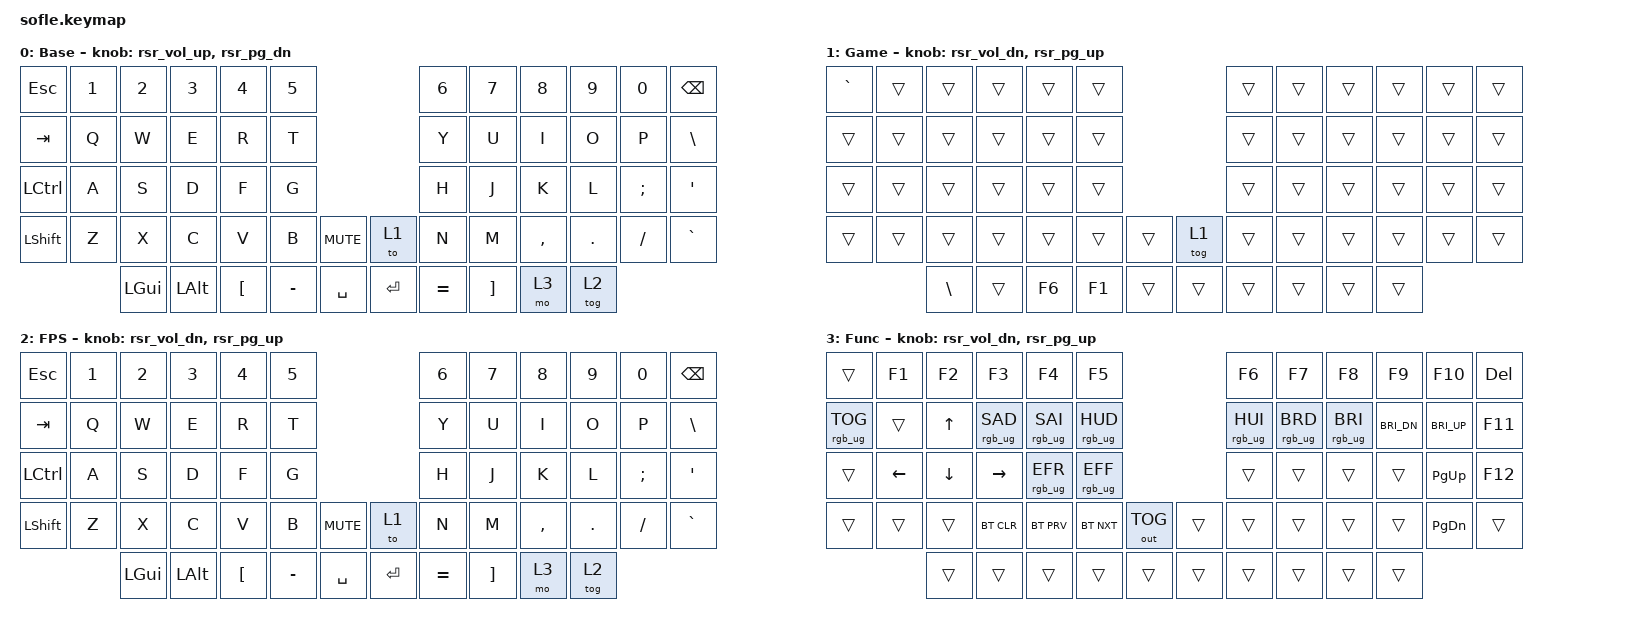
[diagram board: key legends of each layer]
/*
 * Copyright (c) 2020 The ZMK Contributors
 *
 * SPDX-License-Identifier: MIT
 */

#include <behaviors.dtsi>
#include <dt-bindings/zmk/bt.h>
#include <dt-bindings/zmk/keys.h>
#include <dt-bindings/zmk/outputs.h>
#include <dt-bindings/zmk/rgb.h>
#include <behaviors/runtime-sensor-rotate.dtsi>

#define BASE 0
#define LOWER 1
#define RAISE 2
#define ADJUST 3

/ {
    // Activate ADJUST layer by pressing raise and lower

    conditional_layers { compatible = "zmk,conditional-layers"; };

    behaviors {
        tmt: tap_preferred_mt {
            compatible = "zmk,behavior-hold-tap";
            label = "TMT";
            bindings = <&kp>, <&kp>;

            #binding-cells = <2>;
            tapping-term-ms = <200>;
            flavor = "tap-preferred";
        };
    };

    // Runtime-configurable encoders (cormoran/zmk-behavior-runtime-sensor-rotate).
    // cw/ccw-binding are static fallbacks; the web UI overrides them per layer and
    // the settings persist. First cell = clockwise, mirroring the &inc_dec_kp
    // pairs each layer used before.
    behaviors {
        rsr_vol_up: rsr_vol_up {
            compatible = "zmk,behavior-runtime-sensor-rotate";
            #sensor-binding-cells = <0>;
            cw-binding = <&kp C_VOL_UP>;
            ccw-binding = <&kp C_VOL_DN>;
        };

        rsr_vol_dn: rsr_vol_dn {
            compatible = "zmk,behavior-runtime-sensor-rotate";
            #sensor-binding-cells = <0>;
            cw-binding = <&kp C_VOL_DN>;
            ccw-binding = <&kp C_VOL_UP>;
        };

        rsr_pg_dn: rsr_pg_dn {
            compatible = "zmk,behavior-runtime-sensor-rotate";
            #sensor-binding-cells = <0>;
            cw-binding = <&kp PG_DN>;
            ccw-binding = <&kp PG_UP>;
        };

        rsr_pg_up: rsr_pg_up {
            compatible = "zmk,behavior-runtime-sensor-rotate";
            #sensor-binding-cells = <0>;
            cw-binding = <&kp PG_UP>;
            ccw-binding = <&kp PG_DN>;
        };
    };

    keymap {
        compatible = "zmk,keymap";

        default_layer {
            display-name = "Base";   // 👈 this is the layer name you see in UI/OLED

            // ------------------------------------------------------------------------------------------------------------
            // |  ESC  |  1  |  2  |  3   |  4   |  5   |                   |  6   |  7    |  8    |  9   |   0   | BKSPC |
            // |  TAB  |  Q  |  W  |  E   |  R   |  T   |                   |  Y   |  U    |  I    |  O   |   P   |   \   |
            // | LCTRL |  A  |  S  |  D   |  F   |  G   |                   |  H   |  J    |  K    |  L   |   ;   |   '   |
            // | SHIFT |  Z  |  X  |  C   |  V   |  B   |  MUTE  |  |       |  N   |  M    |  ,    |  .   |   /   | SHIFT |
            //               | GUI |  -   | ALT  | SPACE|   {    |  |   }   | Enter|  fn   | =     | `    |

            bindings = <
&kp ESC    &kp N1  &kp N2        &kp N3        &kp N4            &kp N5                            &kp N6     &kp N7             &kp N8     &kp N9   &kp N0    &kp BSPC
&kp TAB    &kp Q   &kp W         &kp E         &kp R             &kp T                             &kp Y      &kp U              &kp I      &kp O    &kp P     &kp BSLH
&kp LCTRL  &kp A   &kp S         &kp D         &kp F             &kp G                             &kp H      &kp J              &kp K      &kp L    &kp SEMI  &kp SQT
&kp LSHFT  &kp Z   &kp X         &kp C         &kp V             &kp B      &kp C_MUTE    &to 1    &kp N      &kp M              &kp COMMA  &kp DOT  &kp FSLH  &kp GRAVE
                   &kp LEFT_GUI  &kp LEFT_ALT  &kp LEFT_BRACKET  &kp MINUS  &kp SPACE     &kp RET  &kp EQUAL  &kp RIGHT_BRACKET  &mo 3      &tog 2
            >;

            sensor-bindings = <&rsr_vol_up &rsr_pg_dn>;
        };

        raise_layer {
            display-name = "Game";

            // ------------------------------------------------------------------------------------------------------------
            // |       |        |        |       |       |      |                |        |       |       |      |       |       |
            // |       |        |        |       |       |      |                |        |       |       |      |       |       |
            // |       |        |        |       |       |      |                |        |       |       |      |       |       |
            // |       |        |        |       |       |      |      |  |      |        |       |       |      |       |       |
            //                  |  F6    |  F5   |       |      |  F1  |  |      |        |       |       |      |

            bindings = <
&kp GRAVE  &trans  &trans         &trans  &trans  &trans                    &trans  &trans  &trans  &trans  &trans  &trans
&trans     &trans  &trans         &trans  &trans  &trans                    &trans  &trans  &trans  &trans  &trans  &trans
&trans     &trans  &trans         &trans  &trans  &trans                    &trans  &trans  &trans  &trans  &trans  &trans
&trans     &trans  &trans         &trans  &trans  &trans  &trans    &tog 1  &trans  &trans  &trans  &trans  &trans  &trans
                   &kp BACKSLASH  &trans  &kp F6  &kp F1  &trans    &trans  &trans  &trans  &trans  &trans
            >;

            sensor-bindings = <&rsr_vol_dn &rsr_pg_up>;
        };

        adjust_layer {
            display-name = "FPS";
            bindings = <
&kp ESC    &kp N1  &kp N2        &kp N3        &kp N4            &kp N5                            &kp N6     &kp N7             &kp N8     &kp N9   &kp N0    &kp BSPC
&kp TAB    &kp Q   &kp W         &kp E         &kp R             &kp T                             &kp Y      &kp U              &kp I      &kp O    &kp P     &kp BSLH
&kp LCTRL  &kp A   &kp S         &kp D         &kp F             &kp G                             &kp H      &kp J              &kp K      &kp L    &kp SEMI  &kp SQT
&kp LSHFT  &kp Z   &kp X         &kp C         &kp V             &kp B      &kp C_MUTE    &to 1    &kp N      &kp M              &kp COMMA  &kp DOT  &kp FSLH  &kp GRAVE
                   &kp LEFT_GUI  &kp LEFT_ALT  &kp LEFT_BRACKET  &kp MINUS  &kp SPACE     &kp RET  &kp EQUAL  &kp RIGHT_BRACKET  &mo 3      &tog 2
            >;

            sensor-bindings = <&rsr_vol_dn &rsr_pg_up>;
        };

        lower_layer {
            display-name = "Func";
            // TODO: Some binds are waiting for shifted keycode support.
            // ------------------------------------------------------------------------------------------------------------
            // |       |  F1 |  F2 |  F3  |  F4  |  F5  |                   |  F6  |  F7   |  F8   |  F9  |  F10  |  del  |
            // |       |     |  up |      |      |      |                   |      |       |       |      |       |  F12  |
            // |       | left| down|right |      |      |                   |      |       |       |      |       |       |
            // |       |     |     |      |      |      |        |  |       |      |       |       |      |       |       |
            //               |     |      |      |      |        |  |       |      |       |       |      |

            bindings = <
&trans           &kp F1    &kp F2    &kp F3           &kp F4           &kp F5                                   &kp F6           &kp F7           &kp F8           &kp F9        &kp F10       &kp DEL
&rgb_ug RGB_TOG  &trans    &kp UP    &rgb_ug RGB_SAD  &rgb_ug RGB_SAI  &rgb_ug RGB_HUD                          &rgb_ug RGB_HUI  &rgb_ug RGB_BRD  &rgb_ug RGB_BRI  &kp C_BRI_DN  &kp C_BRI_UP  &kp F11
&trans           &kp LEFT  &kp DOWN  &kp RIGHT        &rgb_ug RGB_EFR  &rgb_ug RGB_EFF                          &trans           &trans           &trans           &trans        &kp PG_UP     &kp F12
&trans           &trans    &trans    &bt BT_CLR       &bt BT_PRV       &bt BT_NXT       &out OUT_TOG    &trans  &trans           &trans           &trans           &trans        &kp PG_DN     &trans
                           &trans    &trans           &trans           &trans           &trans          &trans  &trans           &trans           &trans           &trans
            >;

            sensor-bindings = <&rsr_vol_dn &rsr_pg_up>;
        };

        extra1 { status = "reserved"; };

        extra2 { status = "reserved"; };

        extra3 { status = "reserved"; };

        extra4 { status = "reserved"; };
    };
};
